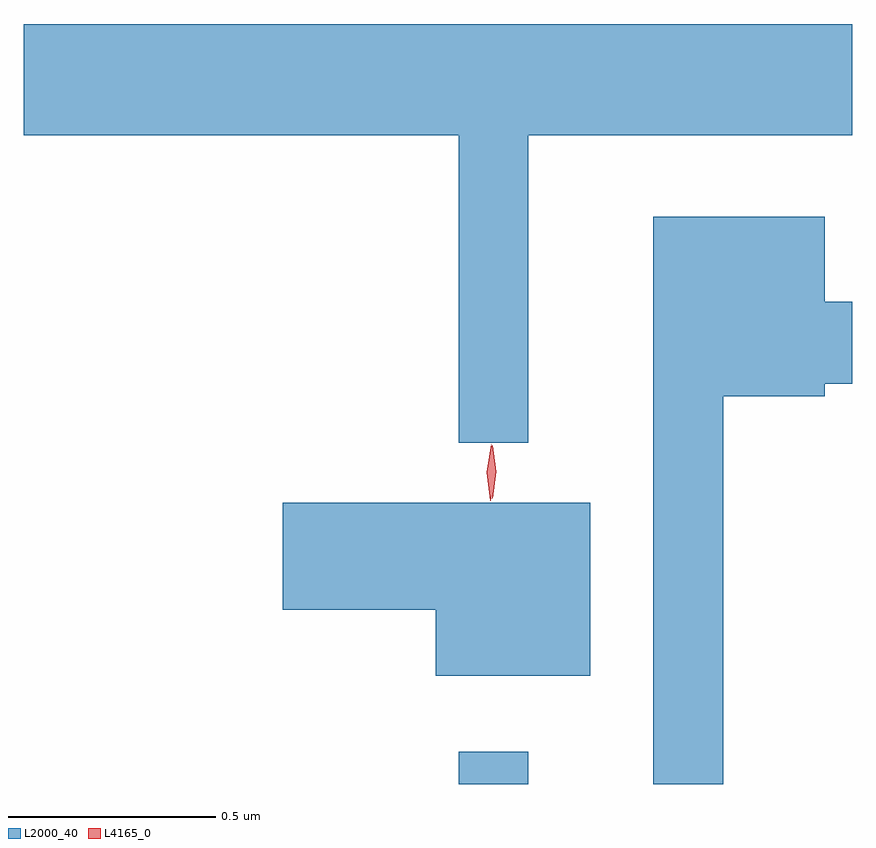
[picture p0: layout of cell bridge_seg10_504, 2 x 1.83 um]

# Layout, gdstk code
import gdstk
lib = gdstk.Library(unit=1e-6, precision=1e-09)
def R(c, l, rs):  # rectangles x0, y0, x1, y1
    for r in rs: c.add(gdstk.rectangle(r[:2], r[2:], *l))
def P(c, l, *ps):  # polygons
    for p in ps: c.add(gdstk.Polygon(p, *l))
L2000_40 = (2000, 40)
L4165_0 = (4165, 0)

bridge_seg10_504 = lib.new_cell('bridge_seg10_504')
R(bridge_seg10_504, L2000_40, [(961.641,2152.31,961.809,2152.388)])
P(bridge_seg10_504, L2000_40, [(961.809,2153.876),(962.591,2153.876),(962.591,2154.144),(960.591,2154.144),(960.591,2153.876),(961.641,2153.876),(961.641,2153.133),(961.809,2153.133)],
  [(962.279,2153.246),(962.524,2153.246),(962.524,2153.276),(962.591,2153.276),(962.591,2153.474),(962.524,2153.474),(962.524,2153.679),(962.111,2153.679),(962.111,2152.31),(962.279,2152.31)],
  [(961.959,2152.989),(961.216,2152.989),(961.216,2152.731),(961.586,2152.731),(961.586,2152.571),(961.959,2152.571)])
P(bridge_seg10_504, L4165_0, [(961.717,2152.994),(961.709,2153.062),(961.719,2153.13),(961.72,2153.13),(961.72,2153.13),(961.729,2153.062),(961.718,2152.994),(961.718,2152.994)],
  [(961.722,2153),(961.722,2153),(961.712,2153.064),(961.722,2153.126),(961.722,2153.127),(961.723,2153.126),(961.732,2153.064),(961.723,2153)])

lib.write_gds('bridge_seg10_504.gds')
